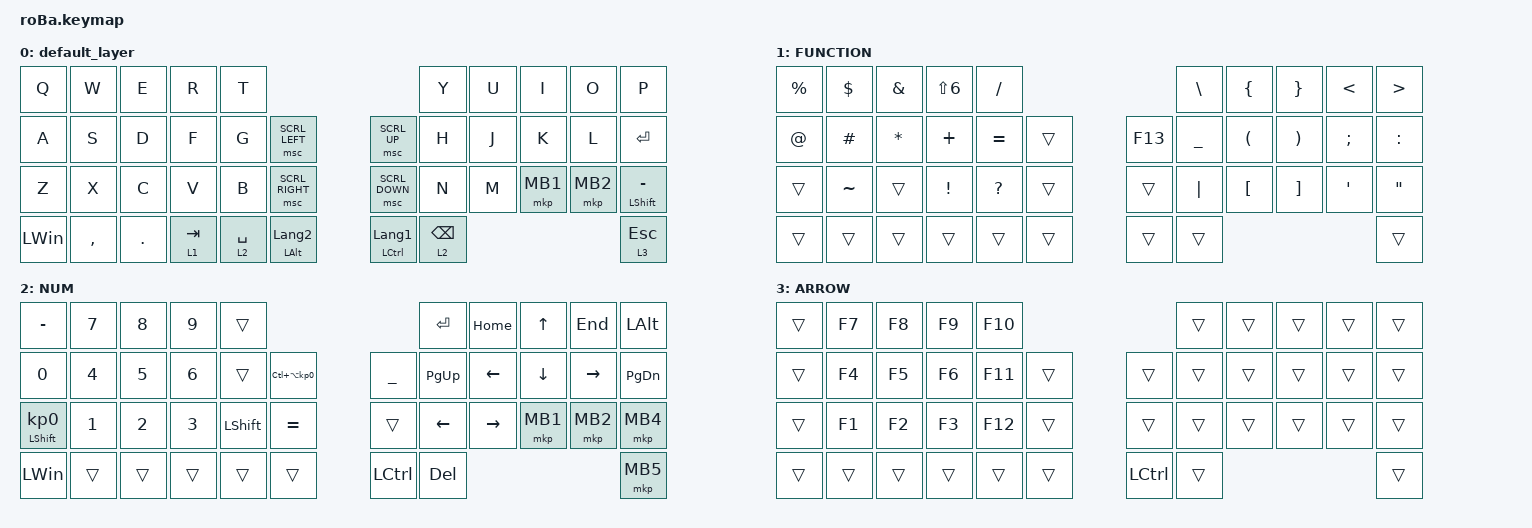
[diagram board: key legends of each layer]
#include <behaviors.dtsi>
#include <dt-bindings/zmk/keys.h>
#include <dt-bindings/zmk/pointing.h>

#define MOUSE 4
#define SCROLL 5
#define NUM 6

&mt {
    flavor = "balanced";
    quick-tap-ms = <0>;
};

/ {
    combos {
        compatible = "zmk,combos";

        tab {
            bindings = <&kp TAB>;
            key-positions = <11 12>;
        };

        shift_tab {
            bindings = <&kp LS(TAB)>;
            key-positions = <12 13>;
        };

        muhennkann {
            bindings = <&to_layer_0 INT_MUHENKAN>;
            key-positions = <11 10>;
        };

        double_quotation {
            bindings = <&kp DOUBLE_QUOTES>;
            key-positions = <20 21>;
        };

        eq {
            bindings = <&kp EQUAL>;
            key-positions = <24 25>;
        };
    };

    macros {
        to_layer_0: to_layer_0 {
            compatible = "zmk,behavior-macro-one-param";
            #binding-cells = <1>;
            bindings = <&to 0 &macro_param_1to1 &kp MACRO_PLACEHOLDER>;
            label = "TO_LAYER_0";
        };
    };

    behaviors {
        lt_to_layer_0: lt_to_layer_0 {
            compatible = "zmk,behavior-hold-tap";
            label = "LAYER_TAP_TO_0";
            bindings = <&mo>, <&to_layer_0>;

            #binding-cells = <2>;
            tapping-term-ms = <200>;
        };
    };

    keymap {
        compatible = "zmk,keymap";

        default_layer {
            bindings = <
&kp Q         &kp W      &kp E       &kp R                 &kp T                                                           &kp Y            &kp U  &kp I     &kp O     &kp P
&kp A         &kp S      &kp D       &kp F                 &kp G        &msc SCRL_LEFT               &msc SCRL_UP          &kp H            &kp J  &kp K     &kp L     &kp ENTER
&kp Z         &kp X      &kp C       &kp V                 &kp B        &msc SCRL_RIGHT              &msc SCRL_DOWN        &kp N            &kp M  &mkp MB1  &mkp MB2  &mt LEFT_SHIFT MINUS
&kp LEFT_WIN  &kp COMMA  &kp PERIOD  &lt_to_layer_0 1 TAB  &lt 2 SPACE  &mt LEFT_ALT LANGUAGE_2      &mt LCTRL LANGUAGE_1  &lt 2 BACKSPACE                             &lt 3 ESCAPE
            >;
        };

        FUNCTION {
            bindings = <
&kp PERCENT  &kp DOLLAR  &kp AMPERSAND  &kp LS(NUMBER_6)  &kp SLASH                          &kp BACKSLASH   &kp LEFT_BRACE        &kp RIGHT_BRACE        &kp LESS_THAN   &kp GREATER_THAN
&kp AT_SIGN  &kp HASH    &kp ASTERISK   &kp PLUS          &kp EQUAL     &trans      &kp F13  &kp UNDERSCORE  &kp LEFT_PARENTHESIS  &kp RIGHT_PARENTHESIS  &kp SEMICOLON   &kp COLON
&trans       &kp TILDE   &trans         &kp EXCLAMATION   &kp QUESTION  &trans      &trans   &kp PIPE        &kp LEFT_BRACKET      &kp RIGHT_BRACKET      &kp APOSTROPHE  &kp DOUBLE_QUOTES
&trans       &trans      &trans         &trans            &trans        &trans      &trans   &trans                                                                       &trans
            >;
        };

        NUM {
            bindings = <
&kp MINUS                   &kp NUMBER_7  &kp NUMBER_8  &kp NUMBER_9  &trans                                                       &kp ENTER    &kp HOME   &kp UP    &kp END    &kp LEFT_ALT
&kp NUMBER_0                &kp NUMBER_4  &kp N5        &kp NUMBER_6  &trans          &kp LC(LA(KP_NUMBER_0))      &kp UNDERSCORE  &kp PAGE_UP  &kp LEFT   &kp DOWN  &kp RIGHT  &kp PAGE_DOWN
&mt LEFT_SHIFT KP_NUMBER_0  &kp NUMBER_1  &kp NUMBER_2  &kp NUMBER_3  &kp LEFT_SHIFT  &kp EQUAL                    &trans          &kp LEFT     &kp RIGHT  &mkp MB1  &mkp MB2   &mkp MB4
&kp LEFT_WIN                &trans        &trans        &trans        &trans          &trans                       &kp LCTRL       &kp DEL                                      &mkp MB5
            >;
        };

        ARROW {
            bindings = <
&trans  &kp F7  &kp F8  &kp F9  &kp F10                         &trans  &trans  &trans  &trans  &trans
&trans  &kp F4  &kp F5  &kp F6  &kp F11  &trans      &trans     &trans  &trans  &trans  &trans  &trans
&trans  &kp F1  &kp F2  &kp F3  &kp F12  &trans      &trans     &trans  &trans  &trans  &trans  &trans
&trans  &trans  &trans  &trans  &trans   &trans      &kp LCTRL  &trans                          &trans
            >;
        };
    };
};
